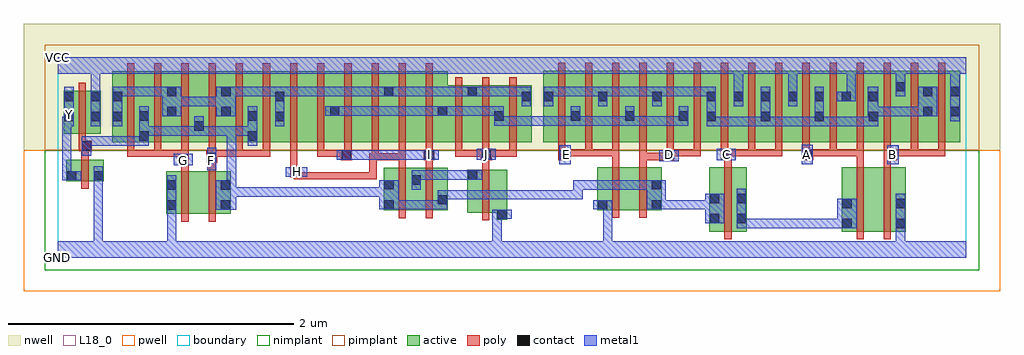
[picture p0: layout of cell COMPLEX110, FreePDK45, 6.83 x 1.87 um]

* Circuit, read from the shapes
.subckt COMPLEX110 A B C D E F G GND H I J VCC Y
M1 GND n1 Y VSUBS nfet w=0.15u l=0.05u
M2 n2 G GND VSUBS nfet w=0.3u l=0.05u
M3 n1 F n2 VSUBS nfet w=0.3u l=0.05u
M4 n3 H n1 VSUBS nfet w=0.3u l=0.05u
M5 n1 I n3 VSUBS nfet w=0.3u l=0.05u
M6 GND J n3 VSUBS nfet w=0.3u l=0.05u
M7 n4 E GND VSUBS nfet w=0.3u l=0.05u
M8 n1 D n4 VSUBS nfet w=0.3u l=0.05u
M9 n5 C n1 VSUBS nfet w=0.45u l=0.05u
M10 n6 A n5 VSUBS nfet w=0.45u l=0.05u
M11 GND B n6 VSUBS nfet w=0.45u l=0.05u
M12 VCC n1 Y n7 pfet w=0.3u l=0.05u
M13 n1 G n8 n7 pfet w=0.5u l=0.05u m=3
M14 n8 F n1 n7 pfet w=0.5u l=0.05u m=3
M15 n9 H n8 n7 pfet w=0.5u l=0.05u
M16 n10 I n9 n7 pfet w=0.5u l=0.05u
M17 n11 I n10 n7 pfet w=0.5u l=0.05u
M18 n8 H n11 n7 pfet w=0.5u l=0.05u
M19 n12 H n8 n7 pfet w=0.5u l=0.05u
M20 n10 I n12 n7 pfet w=0.5u l=0.05u
M21 n8 J n10 n7 pfet w=0.4u l=0.05u m=3
M22 n10 E n13 n7 pfet w=0.5u l=0.05u m=3
M23 n13 D n10 n7 pfet w=0.5u l=0.05u m=3
M24 VCC C n13 n7 pfet w=0.5u l=0.05u m=3
M25 n13 A VCC n7 pfet w=0.5u l=0.05u m=3
M26 VCC B n13 n7 pfet w=0.5u l=0.05u m=3
.ends

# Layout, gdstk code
import gdstk
lib = gdstk.Library(unit=1e-6, precision=1e-09)
def R(c, l, rs):  # rectangles x0, y0, x1, y1
    for r in rs: c.add(gdstk.rectangle(r[:2], r[2:], *l))
def A(c, l, x, y, w, h, nx, ny, dx, dy):  # array of equal rectangles
    R(c, l, [(x+i*dx, y+j*dy, x+i*dx+w, y+j*dy+h) for i in range(nx) for j in range(ny)])
active = (1, 0)
pwell = (2, 0)
nwell = (3, 0)
nimplant = (4, 0)
pimplant = (5, 0)
poly = (9, 0)
contact = (10, 0)
metal1 = (11, 0)
L18_0 = (18, 0)
boundary = (235, 0)

complex110 = lib.new_cell('COMPLEX110')
A(complex110, active, 3.397, 0.807, 0.265, 0.5, 4, 1, 0.19, 0)
A(complex110, active, 3.397, 0.807, 0.075, 0.393, 5, 1, 0.38, 0)
A(complex110, active, 4.537, 0.807, 0.265, 0.5, 3, 1, 0.19, 0)
A(complex110, active, 5.292, 0.807, 0.265, 0.5, 5, 1, 0.19, 0)
A(complex110, active, 5.292, 0.807, 0.075, 0.393, 3, 1, 0.38, 0)
A(complex110, active, 5.482, 0.807, 0.075, 0.498, 3, 1, 0.38, 0)
R(complex110, active, [(4.562,0.182,4.822,0.632), (5.487,0.182,5.712,0.632), (5.712,0.182,5.937,0.632), (5.862,0.182,5.937,0.632), (4.562,0.2,4.637,0.632), (4.747,0.2,4.822,0.632), (5.487,0.2,5.562,0.632), (3.072,0.265,3.147,0.477), (0.762,0.305,0.987,0.605), (0.987,0.305,1.212,0.605), (1.137,0.305,1.212,0.605), (2.867,0.315,3.147,0.615), (0.762,0.33,0.837,0.605), (2.282,0.33,2.357,0.63), (2.282,0.33,2.547,0.63), (2.472,0.33,2.732,0.63), (2.472,0.33,2.547,0.58), (2.657,0.33,2.732,0.497), (2.867,0.33,2.942,0.615), (3.777,0.332,3.852,0.632), (3.777,0.332,4.002,0.632), (4.002,0.332,4.227,0.632), (4.152,0.332,4.227,0.632), (0.062,0.535,0.137,0.685), (0.062,0.535,0.322,0.685), (0.247,0.535,0.322,0.685), (0.382,0.805,0.642,1.305), (0.382,0.805,0.457,1.2), (0.567,0.805,0.837,1.305), (0.762,0.805,1.027,1.305), (0.952,0.805,1.217,1.305), (0.952,0.805,1.027,1.07), (1.142,0.805,1.402,1.305), (1.327,0.805,1.592,1.305), (1.327,0.805,1.402,1.07), (1.517,0.805,1.747,1.305), (1.747,0.805,1.977,1.305), (1.902,0.805,2.127,1.305), (2.127,0.805,2.355,1.305), (2.28,0.805,2.355,1.2), (2.28,0.805,2.507,1.305), (2.507,0.805,2.732,1.305), (2.657,0.805,2.732,1.07), (2.657,0.805,2.94,1.205), (2.865,0.805,2.94,1.2), (2.865,0.805,3.127,1.205), (3.052,0.805,3.317,1.205), (3.052,0.805,3.127,1.07), (3.242,0.805,3.317,1.2), (0.567,0.807,0.642,1.07), (0.762,0.807,0.837,1.2), (1.142,0.807,1.217,1.2), (1.517,0.807,1.592,1.2), (1.902,0.807,1.977,1.07), (3.587,0.807,3.662,1.07), (3.967,0.807,4.042,1.07), (4.157,0.807,4.417,1.307), (4.342,0.807,4.612,1.307), (4.342,0.807,4.417,1.07), (4.727,0.807,4.802,1.305), (5.107,0.807,5.182,1.305), (5.107,0.807,5.367,1.307), (0.042,0.867,0.302,1.167), (0.042,0.867,0.117,1.165), (0.227,0.867,0.302,1.165)])
R(complex110, pwell, [(-0.235,-0.235,6.595,0.75)])
R(complex110, nwell, [(-0.235,0.75,6.595,1.635)])
R(complex110, nimplant, [(-0.09,-0.09,6.45,0.75)])
R(complex110, pimplant, [(-0.09,0.75,6.45,1.49)])
A(complex110, poly, 0.487, 0.705, 0.05, 0.095, 6, 1, 0.19, 0)
A(complex110, poly, 2.782, 0.705, 0.05, 0.095, 3, 1, 0.19, 0)
A(complex110, poly, 3.502, 0.707, 0.05, 0.095, 3, 1, 0.19, 0)
A(complex110, poly, 4.262, 0.707, 0.05, 0.095, 11, 1, 0.19, 0)
A(complex110, poly, 4.832, 0.707, 0.24, 0.05, 3, 1, 0.57, 0)
A(complex110, poly, 0.487, 0.75, 0.05, 0.61, 12, 1, 0.19, 0)
A(complex110, poly, 2.782, 0.75, 0.05, 0.51, 3, 1, 0.19, 0)
A(complex110, poly, 3.502, 0.752, 0.05, 0.61, 15, 1, 0.19, 0)
R(complex110, poly, [(4.667,0.127,4.717,0.687), (5.592,0.127,5.642,0.687), (5.782,0.127,5.832,0.687), (0.867,0.25,0.917,0.66), (1.057,0.25,1.107,0.66), (2.972,0.26,3.022,0.67), (2.387,0.275,2.437,0.685), (2.577,0.275,2.627,0.685), (3.882,0.277,3.932,0.687), (4.072,0.277,4.122,0.687), (0.167,0.48,0.217,0.74), (1.652,0.547,1.702,0.597), (1.652,0.547,1.702,0.597), (1.652,0.547,1.702,0.597), (1.652,0.547,1.702,0.597), (1.652,0.547,1.702,0.597), (1.652,0.547,1.9,0.597), (1.652,0.547,1.702,0.612), (1.85,0.547,1.9,0.597), (1.85,0.547,1.9,0.597), (1.85,0.547,1.9,0.597), (1.85,0.547,2.1,0.597), (2.05,0.547,2.1,0.597), (2.05,0.547,2.1,0.597), (2.05,0.547,2.1,0.597), (2.05,0.547,2.232,0.597), (2.182,0.547,2.232,0.597), (2.182,0.547,2.232,0.73), (1.627,0.562,1.702,0.637), (1.627,0.587,1.677,0.8), (0.867,0.61,0.917,0.705), (1.057,0.61,1.107,0.712), (2.972,0.62,3.022,0.73), (2.387,0.635,2.437,0.73), (2.577,0.635,2.627,0.73), (3.882,0.637,3.932,0.757), (4.072,0.637,4.122,0.732), (4.667,0.637,4.717,0.732), (5.592,0.637,5.642,0.757), (5.782,0.637,5.832,0.732), (0.842,0.655,0.917,0.755), (1.042,0.662,1.117,0.755), (1.982,0.68,2.057,0.755), (2.182,0.68,2.232,0.73), (2.182,0.68,2.232,0.73), (2.182,0.68,2.247,0.73), (2.197,0.68,2.437,0.73), (2.197,0.68,2.247,0.8), (2.387,0.68,2.437,0.73), (2.387,0.68,2.437,0.73), (2.387,0.68,2.437,0.73), (2.387,0.68,2.437,0.8), (2.562,0.68,2.637,0.755), (2.962,0.68,3.037,0.755), (3.502,0.682,3.582,0.757), (4.072,0.682,4.122,0.732), (4.072,0.682,4.122,0.802), (4.072,0.682,4.292,0.732), (4.242,0.682,4.292,0.732), (4.242,0.682,4.292,0.732), (4.242,0.682,4.317,0.757), (4.642,0.682,4.717,0.757), (5.212,0.682,5.287,0.757), (5.782,0.682,5.877,0.757), (0.167,0.69,0.217,0.792), (0.487,0.705,0.537,0.755), (0.487,0.705,0.537,0.755), (0.487,0.705,0.537,0.755), (0.487,0.705,0.727,0.755), (0.677,0.705,0.727,0.755), (0.677,0.705,0.727,0.755), (0.677,0.705,0.727,0.755), (0.677,0.705,0.892,0.755), (1.067,0.705,1.117,0.755), (1.067,0.705,1.117,0.755), (1.067,0.705,1.297,0.755), (1.247,0.705,1.297,0.755), (1.247,0.705,1.297,0.755), (1.247,0.705,1.297,0.755), (1.247,0.705,1.487,0.755), (1.437,0.705,1.487,0.755), (1.817,0.705,1.867,0.8), (1.817,0.705,1.867,0.755), (1.817,0.705,1.867,0.755), (1.817,0.705,1.867,0.755), (1.817,0.705,2.032,0.755), (2.007,0.705,2.057,0.8), (2.577,0.705,2.627,0.8), (2.782,0.705,2.832,0.755), (2.782,0.705,3.012,0.755), (2.962,0.705,3.012,0.755), (2.962,0.705,3.012,0.755), (2.987,0.705,3.212,0.755), (3.162,0.705,3.212,0.755), (3.162,0.705,3.212,0.755), (3.162,0.705,3.212,0.755), (3.532,0.707,3.582,0.757), (3.532,0.707,3.582,0.757), (3.532,0.707,3.742,0.757), (3.692,0.707,3.742,0.757), (3.692,0.707,3.742,0.757), (3.692,0.707,3.742,0.757), (3.692,0.707,3.932,0.757), (3.882,0.707,3.932,0.757), (4.267,0.707,4.502,0.757), (4.452,0.707,4.502,0.757), (4.452,0.707,4.502,0.757), (4.452,0.707,4.502,0.757), (4.667,0.707,4.882,0.757), (4.832,0.707,4.882,0.757), (4.832,0.707,4.882,0.757), (4.832,0.707,4.882,0.757), (5.022,0.707,5.072,0.757), (5.022,0.707,5.072,0.757), (5.022,0.707,5.072,0.757), (5.237,0.707,5.287,0.757), (5.237,0.707,5.287,0.757), (5.237,0.707,5.452,0.757), (5.402,0.707,5.452,0.757), (5.402,0.707,5.452,0.757), (5.402,0.707,5.452,0.757), (5.592,0.707,5.642,0.757), (5.827,0.707,6.022,0.757), (5.972,0.707,6.022,0.757), (5.972,0.707,6.022,0.757), (5.972,0.707,6.022,0.757), (6.162,0.707,6.212,0.757), (6.162,0.707,6.212,0.757), (6.162,0.707,6.212,0.757), (0.147,0.742,0.24,0.817), (0.147,0.767,0.197,0.862), (0.147,0.812,0.197,1.222)])
A(complex110, contact, 3.402, 1.095, 0.065, 0.065, 4, 1, 0.38, 0)
A(complex110, contact, 4.732, 1.095, 0.065, 0.065, 3, 1, 0.19, 0)
A(complex110, contact, 5.297, 1.095, 0.065, 0.065, 3, 1, 0.19, 0)
R(complex110, contact, [(5.492,0.205,5.557,0.27), (5.867,0.205,5.932,0.27), (4.567,0.24,4.632,0.305), (4.752,0.24,4.817,0.305), (3.077,0.27,3.142,0.335), (0.767,0.335,0.832,0.4), (1.142,0.335,1.207,0.4), (2.287,0.337,2.352,0.402), (3.782,0.337,3.847,0.402), (4.157,0.337,4.222,0.402), (5.492,0.345,5.557,0.41), (5.867,0.345,5.932,0.41), (2.662,0.372,2.727,0.437), (4.567,0.38,4.632,0.445), (4.752,0.38,4.817,0.445), (0.767,0.475,0.832,0.54), (1.142,0.475,1.207,0.54), (2.287,0.477,2.352,0.542), (4.157,0.477,4.222,0.542), (2.477,0.51,2.542,0.575), (0.067,0.54,0.132,0.605), (0.252,0.54,0.317,0.605), (2.872,0.545,2.937,0.61), (1.632,0.567,1.697,0.632), (0.847,0.66,0.912,0.725), (1.047,0.667,1.112,0.732), (1.987,0.685,2.052,0.75), (2.567,0.685,2.632,0.75), (2.967,0.685,3.032,0.75), (3.512,0.687,3.577,0.752), (4.247,0.687,4.312,0.752), (4.647,0.687,4.712,0.752), (5.217,0.687,5.282,0.752), (5.807,0.687,5.872,0.752), (0.17,0.747,0.235,0.812), (0.572,0.817,0.637,0.882), (1.332,0.817,1.397,0.882), (0.957,0.887,1.022,0.952), (0.047,0.955,0.112,1.02), (0.232,0.955,0.297,1.02), (0.387,0.955,0.452,1.02), (1.522,0.955,1.587,1.02), (4.542,0.955,4.607,1.02), (4.922,0.955,4.987,1.02), (5.297,0.955,5.362,1.02), (5.677,0.955,5.742,1.02), (0.572,0.957,0.637,1.022), (1.332,0.957,1.397,1.022), (3.057,0.957,3.122,1.022), (3.592,0.957,3.657,1.022), (3.972,0.957,4.037,1.022), (4.347,0.957,4.412,1.022), (0.767,0.99,0.832,1.055), (1.147,0.99,1.212,1.055), (6.057,0.99,6.122,1.055), (6.247,0.99,6.312,1.055), (1.907,0.992,1.972,1.057), (2.662,0.992,2.727,1.057), (0.047,1.095,0.112,1.16), (0.232,1.095,0.297,1.16), (0.387,1.095,0.452,1.16), (1.522,1.095,1.587,1.16), (3.247,1.095,3.312,1.16), (0.767,1.13,0.832,1.195), (1.147,1.13,1.212,1.195), (2.285,1.13,2.35,1.195), (2.87,1.13,2.935,1.195), (6.057,1.13,6.122,1.195), (6.247,1.13,6.312,1.195), (5.867,1.162,5.932,1.227)])
A(complex110, metal1, 3.402, 0.922, 0.255, 0.065, 3, 1, 0.19, 0)
A(complex110, metal1, 3.402, 1.06, 0.065, 0.135, 3, 1, 0.38, 0)
R(complex110, metal1, [(0,0,6.36,0.115), (0.252,0.05,0.317,0.115), (0.252,0.05,0.317,0.115), (0.252,0.05,0.317,0.57), (0.767,0.05,0.832,0.115), (0.767,0.05,0.832,0.115), (0.767,0.05,0.832,0.115), (0.767,0.05,0.832,0.115), (0.767,0.05,0.832,0.365), (3.042,0.05,3.107,0.115), (3.042,0.05,3.107,0.115), (3.042,0.05,3.107,0.115), (3.042,0.05,3.107,0.115), (3.042,0.05,3.107,0.335), (3.817,0.05,3.882,0.115), (3.817,0.05,3.882,0.115), (3.817,0.05,3.882,0.115), (3.817,0.05,3.882,0.115), (3.817,0.05,3.882,0.402), (5.867,0.05,5.932,0.235), (5.867,0.05,5.932,0.115), (5.867,0.05,5.932,0.115), (5.867,0.17,5.932,0.445), (4.752,0.205,4.817,0.48), (4.752,0.205,4.817,0.27), (4.752,0.205,4.817,0.27), (4.752,0.205,5.04,0.27), (4.975,0.205,5.04,0.27), (4.975,0.205,5.04,0.27), (4.975,0.205,5.04,0.27), (4.975,0.205,5.225,0.27), (5.16,0.205,5.225,0.27), (5.16,0.205,5.362,0.27), (5.297,0.205,5.362,0.27), (5.297,0.205,5.362,0.27), (5.297,0.205,5.362,0.27), (5.297,0.205,5.522,0.27), (5.457,0.205,5.522,0.27), (5.457,0.205,5.522,0.27), (5.457,0.205,5.592,0.41), (4.532,0.24,4.667,0.445), (3.042,0.27,3.177,0.335), (0.767,0.3,0.832,0.575), (1.107,0.335,1.25,0.54), (2.252,0.337,2.387,0.542), (2.322,0.337,2.387,0.402), (2.322,0.337,2.387,0.402), (2.322,0.337,2.555,0.402), (2.49,0.337,2.555,0.402), (2.49,0.337,2.555,0.402), (2.49,0.337,2.555,0.402), (2.49,0.337,2.727,0.402), (2.662,0.337,2.727,0.472), (3.747,0.337,3.882,0.402), (4.122,0.337,4.257,0.542), (4.192,0.337,4.257,0.402), (4.192,0.337,4.257,0.402), (4.192,0.337,4.46,0.402), (4.395,0.337,4.46,0.402), (4.395,0.337,4.46,0.402), (4.395,0.337,4.46,0.402), (4.395,0.337,4.597,0.402), (2.662,0.407,2.727,0.472), (2.662,0.407,2.727,0.472), (2.662,0.407,2.97,0.472), (2.905,0.407,2.97,0.472), (2.905,0.407,2.97,0.472), (2.905,0.407,2.97,0.472), (2.905,0.407,3.122,0.472), (3.057,0.407,3.122,0.472), (3.057,0.407,3.122,0.472), (3.057,0.407,3.122,0.472), (3.057,0.407,3.26,0.472), (3.195,0.407,3.26,0.472), (3.195,0.407,3.45,0.472), (3.385,0.407,3.45,0.472), (3.385,0.407,3.45,0.472), (3.385,0.407,3.45,0.472), (3.385,0.407,3.675,0.472), (3.61,0.407,3.675,0.54), (1.185,0.427,1.25,0.492), (1.185,0.427,1.25,0.492), (1.185,0.427,1.387,0.492), (1.322,0.427,1.387,0.492), (1.322,0.427,1.525,0.492), (1.46,0.427,1.525,0.492), (1.46,0.427,1.525,0.492), (1.46,0.427,1.525,0.492), (1.46,0.427,1.525,0.492), (1.46,0.427,1.525,0.492), (1.46,0.427,1.725,0.492), (1.66,0.427,1.725,0.492), (1.66,0.427,1.725,0.492), (1.66,0.427,1.725,0.492), (1.66,0.427,1.87,0.492), (1.805,0.427,1.87,0.492), (1.805,0.427,1.87,0.492), (1.805,0.427,1.87,0.492), (1.805,0.427,2.11,0.492), (2.045,0.427,2.11,0.492), (2.045,0.427,2.177,0.492), (2.112,0.427,2.177,0.492), (2.112,0.427,2.247,0.492), (2.182,0.427,2.247,0.492), (2.182,0.427,2.317,0.492), (1.185,0.475,1.25,0.847), (2.477,0.475,2.542,0.61), (3.61,0.475,3.675,0.54), (3.61,0.475,3.675,0.54), (3.61,0.475,3.847,0.54), (3.782,0.475,3.847,0.54), (3.782,0.475,3.847,0.54), (3.782,0.475,3.847,0.54), (3.782,0.475,3.985,0.54), (3.92,0.475,3.985,0.54), (3.92,0.475,3.985,0.54), (3.92,0.475,3.985,0.54), (3.92,0.475,4.187,0.54), (0.252,0.505,0.317,0.57), (0.252,0.505,0.317,0.57), (0.252,0.505,0.317,0.57), (0.252,0.505,0.317,0.57), (0.252,0.505,0.317,0.64), (0.032,0.54,0.097,0.605), (0.032,0.54,0.097,0.605), (0.032,0.54,0.167,0.605), (0.032,0.54,0.097,0.985), (2.477,0.545,2.542,0.61), (2.477,0.545,2.542,0.61), (2.477,0.545,2.762,0.61), (2.697,0.545,2.762,0.61), (2.697,0.545,2.762,0.61), (2.697,0.545,2.762,0.61), (2.697,0.545,2.902,0.61), (2.837,0.545,2.972,0.61), (1.597,0.565,1.747,0.632), (1.047,0.612,1.112,0.767), (0.812,0.647,0.947,0.725), (3.512,0.652,3.592,0.787), (5.207,0.652,5.285,0.79), (5.807,0.652,5.887,0.787), (4.212,0.675,4.347,0.752), (4.612,0.682,4.747,0.76), (1.952,0.685,2.087,0.75), (2.022,0.685,2.177,0.75), (2.112,0.685,2.177,0.75), (2.112,0.685,2.247,0.75), (2.182,0.685,2.247,0.75), (2.182,0.685,2.405,0.75), (2.34,0.685,2.405,0.75), (2.34,0.685,2.405,0.75), (2.34,0.685,2.405,0.75), (2.34,0.685,2.542,0.75), (2.477,0.685,2.542,0.75), (2.477,0.685,2.597,0.75), (2.532,0.685,2.667,0.752), (2.932,0.685,3.067,0.762), (0.17,0.712,0.235,0.847), (0.17,0.782,0.235,0.847), (0.17,0.782,0.235,0.847), (0.17,0.782,0.235,0.847), (0.17,0.782,0.235,0.847), (0.17,0.782,0.5,0.847), (0.435,0.782,0.5,0.847), (0.435,0.782,0.5,0.847), (0.435,0.782,0.5,0.847), (0.435,0.782,0.637,0.847), (0.572,0.782,0.637,1.057), (1.185,0.782,1.25,0.847), (1.185,0.782,1.25,0.917), (1.332,0.782,1.397,1.057), (0.572,0.852,0.637,0.917), (0.572,0.852,0.637,0.917), (0.572,0.852,0.867,0.917), (0.802,0.852,0.867,0.917), (0.802,0.852,0.867,0.917), (0.802,0.852,0.867,0.917), (0.802,0.852,1.022,0.917), (0.957,0.852,1.022,0.917), (0.957,0.852,1.022,0.917), (0.957,0.852,1.022,0.987), (0.957,0.852,1.25,0.917), (1.185,0.852,1.25,0.917), (1.185,0.852,1.25,0.917), (1.185,0.852,1.25,0.917), (1.185,0.852,1.397,0.917), (0.032,0.92,0.097,0.985), (0.032,0.92,0.097,0.985), (0.032,0.92,0.112,0.985), (0.047,0.92,0.112,1.195), (0.047,0.92,0.112,0.985), (0.232,0.92,0.297,1.195), (0.387,0.92,0.452,1.195), (1.522,0.92,1.587,1.195), (4.542,0.92,4.607,1.195), (4.542,0.92,4.607,0.985), (4.542,0.92,4.607,0.985), (4.542,0.92,4.85,0.985), (4.785,0.92,4.85,0.985), (4.785,0.92,4.85,0.985), (4.785,0.92,4.85,0.985), (4.785,0.92,4.987,0.985), (4.922,0.92,4.987,1.195), (4.922,0.92,4.987,0.985), (4.922,0.92,4.987,0.985), (4.922,0.92,5.177,0.985), (5.112,0.92,5.177,0.985), (5.112,0.92,5.177,0.985), (5.112,0.92,5.177,0.985), (5.112,0.92,5.362,0.985), (5.297,0.92,5.362,1.195), (5.297,0.92,5.5,0.985), (5.435,0.92,5.5,0.985), (5.435,0.92,5.5,0.985), (5.435,0.92,5.5,0.985), (5.435,0.92,5.735,0.985), (5.67,0.92,5.735,0.985), (5.67,0.92,5.735,0.985), (5.67,0.92,5.742,1.195), (3.057,0.922,3.122,0.987), (3.057,0.922,3.122,0.987), (3.057,0.922,3.122,1.057), (3.057,0.922,3.26,0.987), (3.195,0.922,3.26,0.987), (3.195,0.922,3.437,0.987), (3.372,0.922,3.437,0.987), (3.372,0.922,3.467,0.987), (3.402,0.922,3.467,0.987), (3.592,0.922,3.657,0.987), (3.592,0.922,3.657,0.987), (3.592,0.922,3.657,1.057), (3.782,0.922,3.847,0.987), (3.782,0.922,3.847,0.987), (3.782,0.922,3.847,0.987), (3.972,0.922,4.037,0.987), (3.972,0.922,4.037,0.987), (3.972,0.922,4.037,1.057), (3.972,0.922,4.175,0.987), (4.11,0.922,4.175,0.987), (4.11,0.922,4.175,0.987), (4.11,0.922,4.175,0.987), (4.11,0.922,4.412,0.987), (4.347,0.922,4.412,1.057), (6.247,0.955,6.312,1.23), (0.732,0.99,0.867,1.195), (1.112,0.99,1.247,1.195), (5.677,0.99,5.95,1.055), (5.885,0.99,5.95,1.055), (5.885,0.99,5.95,1.055), (5.885,0.99,5.95,1.055), (5.885,0.99,6.087,1.055), (6.022,0.99,6.087,1.055), (6.022,0.99,6.087,1.055), (6.022,0.99,6.157,1.195), (1.872,0.992,2.007,1.057), (1.942,0.992,2.007,1.057), (1.942,0.992,2.007,1.057), (1.942,0.992,2.177,1.057), (2.112,0.992,2.177,1.057), (2.112,0.992,2.247,1.057), (2.182,0.992,2.247,1.057), (2.182,0.992,2.405,1.057), (2.34,0.992,2.405,1.057), (2.34,0.992,2.405,1.057), (2.34,0.992,2.405,1.057), (2.34,0.992,2.555,1.057), (2.49,0.992,2.555,1.057), (2.49,0.992,2.555,1.057), (2.49,0.992,2.555,1.057), (2.49,0.992,2.692,1.057), (2.627,0.992,2.762,1.057), (2.697,0.992,2.762,1.057), (2.697,0.992,2.762,1.057), (2.697,0.992,2.97,1.057), (2.905,0.992,2.97,1.057), (2.905,0.992,2.97,1.057), (2.905,0.992,2.97,1.057), (2.905,0.992,3.122,1.057), (0.802,1.06,0.867,1.125), (0.802,1.06,0.867,1.125), (0.802,1.06,1.005,1.125), (0.94,1.06,1.005,1.125), (0.94,1.06,1.005,1.125), (0.94,1.06,1.005,1.125), (0.94,1.06,1.177,1.125), (3.247,1.06,3.312,1.195), (4.732,1.06,4.797,1.195), (5.112,1.06,5.177,1.195), (5.452,1.095,5.587,1.16), (5.522,1.095,5.587,1.35), (5.867,1.127,5.932,1.262), (0.232,1.13,0.297,1.35), (0.387,1.13,0.452,1.195), (0.387,1.13,0.452,1.195), (0.387,1.13,0.637,1.195), (0.572,1.13,0.637,1.195), (0.572,1.13,0.73,1.195), (0.665,1.13,0.73,1.195), (0.665,1.13,0.797,1.195), (1.182,1.13,1.25,1.195), (1.185,1.13,1.25,1.195), (1.185,1.13,1.387,1.195), (1.322,1.13,1.387,1.195), (1.322,1.13,1.387,1.195), (1.322,1.13,1.387,1.195), (1.322,1.13,1.587,1.195), (1.522,1.13,1.732,1.195), (1.667,1.13,1.732,1.195), (1.667,1.13,1.732,1.195), (1.667,1.13,1.732,1.195), (1.667,1.13,1.87,1.195), (1.805,1.13,1.87,1.195), (1.805,1.13,1.87,1.195), (1.805,1.13,1.87,1.195), (1.805,1.13,2.007,1.195), (1.942,1.13,2.007,1.195), (1.942,1.13,2.177,1.195), (2.112,1.13,2.177,1.195), (2.112,1.13,2.247,1.195), (2.182,1.13,2.247,1.195), (2.182,1.13,2.315,1.195), (2.25,1.13,2.385,1.195), (2.32,1.13,2.385,1.195), (2.32,1.13,2.385,1.195), (2.32,1.13,2.555,1.195), (2.49,1.13,2.555,1.195), (2.49,1.13,2.555,1.195), (2.49,1.13,2.555,1.195), (2.49,1.13,2.762,1.195), (2.697,1.13,2.762,1.195), (2.697,1.13,2.762,1.195), (2.697,1.13,2.762,1.195), (2.697,1.13,2.9,1.195), (2.835,1.13,2.97,1.195), (2.905,1.13,2.97,1.195), (2.905,1.13,2.97,1.195), (2.905,1.13,3.122,1.195), (3.057,1.13,3.122,1.195), (3.057,1.13,3.122,1.195), (3.057,1.13,3.122,1.195), (3.057,1.13,3.312,1.195), (3.402,1.13,3.467,1.195), (3.402,1.13,3.467,1.195), (3.402,1.13,3.675,1.195), (3.61,1.13,3.675,1.195), (3.61,1.13,3.675,1.195), (3.61,1.13,3.675,1.195), (3.61,1.13,3.847,1.195), (3.782,1.13,3.847,1.195), (3.782,1.13,3.847,1.195), (3.782,1.13,3.985,1.195), (3.92,1.13,3.985,1.195), (3.92,1.13,3.985,1.195), (3.92,1.13,3.985,1.195), (3.92,1.13,4.227,1.195), (4.162,1.13,4.227,1.195), (4.162,1.13,4.227,1.195), (4.162,1.13,4.395,1.195), (4.33,1.13,4.395,1.195), (4.33,1.13,4.395,1.195), (4.33,1.13,4.395,1.195), (4.33,1.13,4.607,1.195), (4.732,1.13,4.797,1.35), (5.112,1.13,5.177,1.35), (6.247,1.165,6.312,1.35), (5.867,1.197,5.932,1.35), (0,1.285,6.36,1.4), (0.232,1.285,0.297,1.35), (0.232,1.285,0.297,1.35)])
R(complex110, L18_0, [(0,0,6.36,0.115), (0.252,0.05,0.317,0.115), (0.252,0.05,0.317,0.115), (0.252,0.05,0.317,0.57), (0.767,0.05,0.832,0.115), (0.767,0.05,0.832,0.115), (0.767,0.05,0.832,0.115), (0.767,0.05,0.832,0.115), (0.767,0.05,0.832,0.365), (3.042,0.05,3.107,0.115), (3.042,0.05,3.107,0.115), (3.042,0.05,3.107,0.115), (3.042,0.05,3.107,0.115), (3.042,0.05,3.107,0.335), (3.817,0.05,3.882,0.115), (3.817,0.05,3.882,0.115), (3.817,0.05,3.882,0.115), (3.817,0.05,3.882,0.115), (3.817,0.05,3.882,0.402), (5.867,0.05,5.932,0.115), (5.867,0.05,5.932,0.115), (5.867,0.05,5.932,0.235), (5.867,0.17,5.932,0.445), (3.042,0.27,3.177,0.335), (0.767,0.3,0.832,0.575), (3.747,0.337,3.882,0.402), (0.252,0.505,0.317,0.57), (0.252,0.505,0.317,0.57), (0.252,0.505,0.317,0.57), (0.252,0.505,0.317,0.57), (0.252,0.505,0.317,0.64), (0.032,0.54,0.167,0.605), (0.032,0.54,0.097,0.605), (0.032,0.54,0.097,0.605), (0.032,0.54,0.097,0.985), (1.597,0.565,1.747,0.632), (1.647,0.567,1.712,0.632), (1.047,0.612,1.112,0.767), (0.812,0.647,0.947,0.725), (0.847,0.647,0.912,0.712), (1.047,0.647,1.112,0.712), (3.512,0.652,3.592,0.787), (5.207,0.652,5.285,0.79), (5.807,0.652,5.887,0.787), (4.212,0.675,4.347,0.752), (4.612,0.682,4.747,0.76), (1.952,0.685,2.087,0.75), (2.022,0.685,2.177,0.75), (2.112,0.685,2.247,0.75), (2.112,0.685,2.177,0.75), (2.182,0.685,2.247,0.75), (2.182,0.685,2.405,0.75), (2.34,0.685,2.405,0.75), (2.34,0.685,2.405,0.75), (2.34,0.685,2.405,0.75), (2.34,0.685,2.542,0.75), (2.477,0.685,2.542,0.75), (2.477,0.685,2.597,0.75), (2.532,0.685,2.667,0.752), (2.932,0.685,3.067,0.762), (2.567,0.687,2.632,0.752), (2.967,0.687,3.032,0.752), (3.527,0.687,3.592,0.752), (4.247,0.687,4.312,0.752), (4.647,0.687,4.712,0.752), (5.207,0.687,5.272,0.752), (5.807,0.687,5.872,0.752), (0.032,0.92,0.097,0.985), (0.032,0.92,0.097,0.985), (0.032,0.92,0.112,0.985), (0.047,0.92,0.112,0.985), (0.047,0.92,0.112,1.195), (0.232,0.92,0.297,1.195), (6.247,0.955,6.312,1.23), (0.047,0.967,0.112,1.032), (4.732,1.06,4.797,1.195), (5.112,1.06,5.177,1.195), (5.452,1.095,5.587,1.16), (5.522,1.095,5.587,1.35), (5.867,1.127,5.932,1.262), (0.232,1.13,0.297,1.35), (4.732,1.13,4.797,1.35), (5.112,1.13,5.177,1.35), (6.247,1.165,6.312,1.35), (5.867,1.197,5.932,1.35), (0,1.285,6.36,1.4), (0.232,1.285,0.297,1.35), (0.232,1.285,0.297,1.35)])
R(complex110, boundary, [(0,0,6.36,1.4)])
complex110.add(gdstk.Label('A', (5.24,0.72), layer=11, texttype=0))
complex110.add(gdstk.Label('B', (5.84,0.72), layer=11, texttype=0))
complex110.add(gdstk.Label('C', (4.68,0.72), layer=11, texttype=0))
complex110.add(gdstk.Label('D', (4.28,0.72), layer=11, texttype=0))
complex110.add(gdstk.Label('E', (3.56,0.72), layer=11, texttype=0))
complex110.add(gdstk.Label('F', (1.08,0.68), layer=11, texttype=0))
complex110.add(gdstk.Label('G', (0.88,0.68), layer=11, texttype=0))
complex110.add(gdstk.Label('H', (1.68,0.6), layer=11, texttype=0))
complex110.add(gdstk.Label('I', (2.6,0.72), layer=11, texttype=0))
complex110.add(gdstk.Label('J', (3,0.72), layer=11, texttype=0))
complex110.add(gdstk.Label('Y', (0.08,1), layer=11, texttype=0))
complex110.add(gdstk.Label('VCC', (0,1.4), layer=11, texttype=0))
complex110.add(gdstk.Label('GND', (0,0), layer=11, texttype=0))

lib.write_gds('COMPLEX110.gds')
